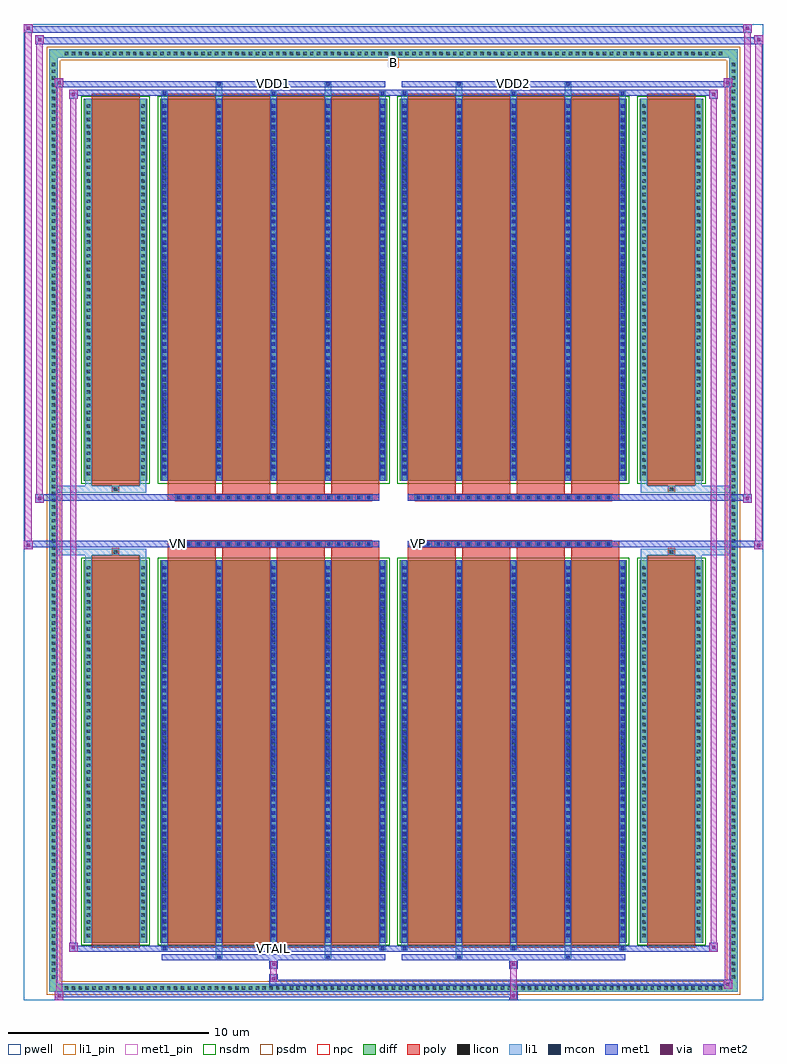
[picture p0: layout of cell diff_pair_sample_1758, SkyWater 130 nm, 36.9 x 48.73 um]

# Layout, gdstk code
import gdstk
lib = gdstk.Library(unit=1e-6, precision=5e-09)
def R(c, l, rs):  # rectangles x0, y0, x1, y1
    for r in rs: c.add(gdstk.rectangle(r[:2], r[2:], *l))
def A(c, l, x, y, w, h, nx, ny, dx, dy):  # array of equal rectangles
    R(c, l, [(x+i*dx, y+j*dy, x+i*dx+w, y+j*dy+h) for i in range(nx) for j in range(ny)])
def P(c, l, *ps):  # polygons
    for p in ps: c.add(gdstk.Polygon(p, *l))
pwell = (64, 44)
diff = (65, 20)
poly = (66, 20)
licon = (66, 44)
li1_pin = (67, 16)
li1 = (67, 20)
mcon = (67, 44)
met1_pin = (68, 16)
met1 = (68, 20)
via = (68, 44)
met2 = (69, 20)
nsdm = (93, 44)
psdm = (94, 20)
npc = (95, 20)

diff_pair_sample_1758 = lib.new_cell('diff_pair_sample_1758')
R(diff_pair_sample_1758, pwell, [(-18.45,-23.93,18.45,24.8), (-15.77,-22.12,-0.01,-0.8), (0.01,-22.12,15.77,-0.8), (-15.77,0.8,-0.01,22.12), (0.01,0.8,15.77,22.12)])
A(diff_pair_sample_1758, diff, -16.525, -23.53, 0.41, 0.41, 97, 2, 0.34, 46.65)
A(diff_pair_sample_1758, diff, -17.18, -22.985, 0.41, 0.41, 1, 135, 0, 0.34)
A(diff_pair_sample_1758, diff, 16.77, -22.985, 0.41, 0.41, 1, 135, 0, 0.34)
R(diff_pair_sample_1758, diff, [(-16.525,-23.53,16.525,-23.12), (-17.18,-22.985,-16.77,22.985), (16.77,-22.985,17.18,22.985), (-15.46,-21.075,-12.29,-1.985), (-11.65,-21.075,-0.32,-1.985), (0.32,-21.075,11.65,-1.985), (12.29,-21.075,15.46,-1.985), (-15.46,1.985,-12.29,21.075), (-11.65,1.985,-0.32,21.075), (0.32,1.985,11.65,21.075), (12.29,1.985,15.46,21.075), (-16.525,23.12,16.525,23.53)])
P(diff_pair_sample_1758, diff, [(17.18,23.53),(-17.18,23.53),(-17.18,-23.12),(-16.77,-23.12),(-16.77,23.12),(16.77,23.12),(16.77,-23.12),(-16.77,-23.12),(-17.18,-23.12),(-17.18,-23.53),(17.18,-23.53)])
A(diff_pair_sample_1758, poly, -11.26, -21.325, 2.39, 19.59, 4, 2, 2.72, 23.06)
A(diff_pair_sample_1758, poly, 0.71, -21.325, 2.39, 19.59, 4, 2, 2.72, 23.06)
A(diff_pair_sample_1758, poly, -11.26, -1.735, 2.39, 0.405, 4, 2, 2.72, 3.065)
A(diff_pair_sample_1758, poly, 0.71, -1.735, 2.39, 0.405, 4, 2, 2.72, 3.065)
A(diff_pair_sample_1758, poly, -10.9, -1.33, 0.33, 0.33, 20, 2, 0.5, 2.33)
A(diff_pair_sample_1758, poly, 1.07, -1.33, 0.33, 0.33, 20, 2, 0.5, 2.33)
R(diff_pair_sample_1758, poly, [(-15.07,-21.325,-12.68,-1.735), (12.68,-21.325,15.07,-1.735), (-14.04,-1.735,-13.71,-1.405), (-14.04,-1.735,-13.71,-1.405), (13.71,-1.735,14.04,-1.405), (13.71,-1.735,14.04,-1.405), (-11.26,-1.33,-0.71,-1), (0.71,-1.33,11.26,-1), (-11.26,1,-0.71,1.33), (0.71,1,11.26,1.33), (-14.04,1.405,-13.71,1.735), (-14.04,1.405,-13.71,1.735), (13.71,1.405,14.04,1.735), (13.71,1.405,14.04,1.735), (-15.07,1.735,-12.68,21.325), (12.68,1.735,15.07,21.325)])
A(diff_pair_sample_1758, licon, -16.405, -23.41, 0.17, 0.17, 97, 2, 0.34, 46.65)
A(diff_pair_sample_1758, licon, -17.06, -22.865, 0.17, 0.17, 1, 135, 0, 0.34)
A(diff_pair_sample_1758, licon, 16.89, -22.865, 0.17, 0.17, 1, 135, 0, 0.34)
A(diff_pair_sample_1758, licon, -15.32, -20.795, 0.17, 0.17, 1, 55, 0, 0.34)
A(diff_pair_sample_1758, licon, -12.6, -20.795, 0.17, 0.17, 1, 55, 0, 0.34)
A(diff_pair_sample_1758, licon, -11.51, -20.795, 0.17, 0.17, 5, 55, 2.72, 0.34)
A(diff_pair_sample_1758, licon, 0.46, -20.795, 0.17, 0.17, 5, 55, 2.72, 0.34)
A(diff_pair_sample_1758, licon, 12.43, -20.795, 0.17, 0.17, 1, 55, 0, 0.34)
A(diff_pair_sample_1758, licon, 15.15, -20.795, 0.17, 0.17, 1, 55, 0, 0.34)
A(diff_pair_sample_1758, licon, -10.82, -1.25, 0.17, 0.17, 20, 2, 0.5, 2.33)
A(diff_pair_sample_1758, licon, 1.15, -1.25, 0.17, 0.17, 20, 2, 0.5, 2.33)
A(diff_pair_sample_1758, licon, -15.32, 2.265, 0.17, 0.17, 1, 55, 0, 0.34)
A(diff_pair_sample_1758, licon, -12.6, 2.265, 0.17, 0.17, 1, 55, 0, 0.34)
A(diff_pair_sample_1758, licon, -11.51, 2.265, 0.17, 0.17, 5, 55, 2.72, 0.34)
A(diff_pair_sample_1758, licon, 0.46, 2.265, 0.17, 0.17, 5, 55, 2.72, 0.34)
A(diff_pair_sample_1758, licon, 12.43, 2.265, 0.17, 0.17, 1, 55, 0, 0.34)
A(diff_pair_sample_1758, licon, 15.15, 2.265, 0.17, 0.17, 1, 55, 0, 0.34)
R(diff_pair_sample_1758, licon, [(-13.96,-1.655,-13.79,-1.485), (13.79,-1.655,13.96,-1.485), (-13.96,1.485,-13.79,1.655), (13.79,1.485,13.96,1.655)])
R(diff_pair_sample_1758, li1_pin, [(-0.25,22.62,0.25,23.12)])
A(diff_pair_sample_1758, li1, -16.485, -23.49, 0.33, 0.33, 97, 2, 0.34, 46.65)
A(diff_pair_sample_1758, li1, -17.14, -22.945, 0.33, 0.33, 1, 135, 0, 0.34)
A(diff_pair_sample_1758, li1, 16.81, -22.945, 0.33, 0.33, 1, 135, 0, 0.34)
A(diff_pair_sample_1758, li1, -11.59, -21.45, 0.33, 0.375, 3, 2, 5.44, 42.525)
A(diff_pair_sample_1758, li1, -11.51, -21.45, 0.17, 0.17, 3, 2, 5.44, 42.73)
A(diff_pair_sample_1758, li1, 0.38, -21.45, 0.33, 0.375, 3, 2, 5.44, 42.525)
A(diff_pair_sample_1758, li1, 0.46, -21.45, 0.17, 0.17, 3, 2, 5.44, 42.73)
A(diff_pair_sample_1758, li1, -11.59, -21.075, 0.33, 19.09, 5, 2, 2.72, 23.06)
A(diff_pair_sample_1758, li1, 0.38, -21.075, 0.33, 19.09, 5, 2, 2.72, 23.06)
A(diff_pair_sample_1758, li1, -15.4, -20.875, 0.33, 0.33, 1, 55, 0, 0.34)
A(diff_pair_sample_1758, li1, -12.68, -20.875, 0.33, 0.33, 1, 55, 0, 0.34)
A(diff_pair_sample_1758, li1, -11.59, -20.875, 0.33, 0.33, 5, 55, 2.72, 0.34)
A(diff_pair_sample_1758, li1, 0.38, -20.875, 0.33, 0.33, 5, 55, 2.72, 0.34)
A(diff_pair_sample_1758, li1, 12.35, -20.875, 0.33, 0.33, 1, 55, 0, 0.34)
A(diff_pair_sample_1758, li1, 15.07, -20.875, 0.33, 0.33, 1, 55, 0, 0.34)
A(diff_pair_sample_1758, li1, -11.51, -20.795, 0.17, 0.17, 5, 52, 2.72, 0.36)
A(diff_pair_sample_1758, li1, -11.51, -20.795, 0.17, 18.53, 5, 2, 2.72, 23.06)
A(diff_pair_sample_1758, li1, 0.46, -20.795, 0.17, 0.17, 5, 52, 2.72, 0.36)
A(diff_pair_sample_1758, li1, 0.46, -20.795, 0.17, 18.53, 5, 2, 2.72, 23.06)
A(diff_pair_sample_1758, li1, -10.9, -1.33, 0.33, 0.33, 20, 2, 0.5, 2.33)
A(diff_pair_sample_1758, li1, 1.07, -1.33, 0.33, 0.33, 20, 2, 0.5, 2.33)
A(diff_pair_sample_1758, li1, -15.4, 2.185, 0.33, 0.33, 1, 55, 0, 0.34)
A(diff_pair_sample_1758, li1, -12.68, 2.185, 0.33, 0.33, 1, 55, 0, 0.34)
A(diff_pair_sample_1758, li1, -11.59, 2.185, 0.33, 0.33, 5, 55, 2.72, 0.34)
A(diff_pair_sample_1758, li1, 0.38, 2.185, 0.33, 0.33, 5, 55, 2.72, 0.34)
A(diff_pair_sample_1758, li1, 12.35, 2.185, 0.33, 0.33, 1, 55, 0, 0.34)
A(diff_pair_sample_1758, li1, 15.07, 2.185, 0.33, 0.33, 1, 55, 0, 0.34)
A(diff_pair_sample_1758, li1, -11.51, 2.265, 0.17, 0.17, 5, 52, 2.72, 0.36)
A(diff_pair_sample_1758, li1, 0.46, 2.265, 0.17, 0.17, 5, 52, 2.72, 0.36)
R(diff_pair_sample_1758, li1, [(-17.18,-23.53,-16.77,-23.12), (-17.18,-23.53,-16.77,-23.12), (-16.77,-23.53,16.77,-23.12), (16.77,-23.53,17.18,-23.12), (16.77,-23.53,17.18,-23.12), (-17.18,-23.12,-16.77,23.12), (16.77,-23.12,17.18,23.12), (-8.87,-21.88,-8.54,-21.075), (-8.79,-21.88,-8.62,-21.71), (-3.43,-21.88,-3.1,-21.075), (-3.35,-21.88,-3.18,-21.71), (3.1,-21.88,3.43,-21.075), (3.18,-21.88,3.35,-21.71), (8.54,-21.88,8.87,-21.075), (8.62,-21.88,8.79,-21.71), (-15.4,-21.075,-15.07,-1.985), (-12.68,-21.075,-12.35,-1.985), (12.35,-21.075,12.68,-1.985), (15.07,-21.075,15.4,-1.985), (-15.4,-1.985,-15.07,-1.405), (-12.68,-1.985,-12.35,-1.405), (12.35,-1.985,12.68,-1.405), (15.07,-1.985,15.4,-1.405), (-17.18,-1.735,-14.04,-1.405), (-15.4,-1.735,-14.04,-1.405), (-14.04,-1.735,-13.71,-1.405), (-13.71,-1.735,-12.35,-1.405), (12.35,-1.735,13.71,-1.405), (13.71,-1.735,14.04,-1.405), (13.71,-1.735,17.18,-1.405), (14.04,-1.735,15.4,-1.405), (-17.18,1.405,-14.04,1.735), (-15.4,1.405,-14.04,1.735), (-15.4,1.405,-15.07,1.985), (-14.04,1.405,-13.71,1.735), (-13.71,1.405,-12.35,1.735), (-12.68,1.405,-12.35,1.985), (12.35,1.405,13.71,1.735), (12.35,1.405,12.68,1.985), (13.71,1.405,14.04,1.735), (13.71,1.405,17.18,1.735), (14.04,1.405,15.4,1.735), (15.07,1.405,15.4,1.985), (-15.4,1.985,-15.07,21.075), (-12.68,1.985,-12.35,21.075), (12.35,1.985,12.68,21.075), (15.07,1.985,15.4,21.075), (-8.87,21.075,-8.54,21.88), (-3.43,21.075,-3.1,21.88), (3.1,21.075,3.43,21.88), (8.54,21.075,8.87,21.88), (-8.79,21.71,-8.62,21.88), (-3.35,21.71,-3.18,21.88), (3.18,21.71,3.35,21.88), (8.62,21.71,8.79,21.88), (-17.18,23.12,-16.77,23.53), (-17.18,23.12,-16.77,23.53), (-16.77,23.12,16.77,23.53), (16.77,23.12,17.18,23.53), (16.77,23.12,17.18,23.53)])
A(diff_pair_sample_1758, mcon, -11.51, -21.45, 0.17, 0.17, 3, 2, 5.44, 42.73)
A(diff_pair_sample_1758, mcon, 0.46, -21.45, 0.17, 0.17, 3, 2, 5.44, 42.73)
A(diff_pair_sample_1758, mcon, -11.51, -20.795, 0.17, 0.17, 5, 52, 2.72, 0.36)
A(diff_pair_sample_1758, mcon, 0.46, -20.795, 0.17, 0.17, 5, 52, 2.72, 0.36)
A(diff_pair_sample_1758, mcon, -10.82, -1.25, 0.17, 0.17, 20, 2, 0.5, 2.33)
A(diff_pair_sample_1758, mcon, 1.15, -1.25, 0.17, 0.17, 20, 2, 0.5, 2.33)
A(diff_pair_sample_1758, mcon, -11.51, 2.265, 0.17, 0.17, 5, 52, 2.72, 0.36)
A(diff_pair_sample_1758, mcon, 0.46, 2.265, 0.17, 0.17, 5, 52, 2.72, 0.36)
R(diff_pair_sample_1758, mcon, [(-8.79,-21.88,-8.62,-21.71), (-3.35,-21.88,-3.18,-21.71), (3.18,-21.88,3.35,-21.71), (8.62,-21.88,8.79,-21.71), (-8.79,21.71,-8.62,21.88), (-3.35,21.71,-3.18,21.88), (3.18,21.71,3.35,21.88), (8.62,21.71,8.79,21.88)])
R(diff_pair_sample_1758, met1_pin, [(-6.12,-21.49,-5.85,-21.22), (-10.87,-1.29,-10.6,-1.02), (1.1,-1.29,1.37,-1.02), (-6.12,21.67,-5.85,21.94), (5.85,21.67,6.12,21.94)])
A(diff_pair_sample_1758, met1, -11.57, -21.51, 0.29, 0.29, 3, 2, 5.44, 42.73)
A(diff_pair_sample_1758, met1, 0.4, -21.51, 0.29, 0.29, 3, 2, 5.44, 42.73)
A(diff_pair_sample_1758, met1, -11.57, -21.075, 0.29, 19.09, 5, 2, 2.72, 23.06)
A(diff_pair_sample_1758, met1, 0.4, -21.075, 0.29, 19.09, 5, 2, 2.72, 23.06)
A(diff_pair_sample_1758, met1, -11.57, -20.855, 0.29, 0.29, 5, 52, 2.72, 0.36)
A(diff_pair_sample_1758, met1, 0.4, -20.855, 0.29, 0.29, 5, 52, 2.72, 0.36)
A(diff_pair_sample_1758, met1, -10.88, -1.31, 0.29, 0.29, 20, 2, 0.5, 2.33)
A(diff_pair_sample_1758, met1, 1.09, -1.31, 0.29, 0.29, 20, 2, 0.5, 2.33)
A(diff_pair_sample_1758, met1, -11.57, 2.205, 0.29, 0.29, 5, 52, 2.72, 0.36)
A(diff_pair_sample_1758, met1, 0.4, 2.205, 0.29, 0.29, 5, 52, 2.72, 0.36)
R(diff_pair_sample_1758, met1, [(-16.91,-23.93,-16.48,-23.5), (5.77,-23.93,6.2,-23.5), (-16.91,-23.79,6.2,-23.5), (16.48,-23.36,16.91,-22.93), (-6.2,-23.22,16.91,-22.93), (-6.2,-23.08,-5.77,-22.65), (-6.2,-22.37,-5.77,-21.94), (5.77,-22.37,6.2,-21.94), (-11.57,-21.94,-0.4,-21.65), (-8.85,-21.94,-8.56,-21.65), (-3.41,-21.94,-3.12,-21.65), (0.4,-21.94,11.57,-21.65), (3.12,-21.94,3.41,-21.65), (8.56,-21.94,8.85,-21.65), (-16.2,-21.51,-15.77,-21.08), (-16.2,-21.51,-11.57,-21.22), (-11.57,-21.51,-0.4,-21.22), (-0.4,-21.51,0.4,-21.22), (0.4,-21.51,11.57,-21.22), (11.57,-21.51,16.2,-21.22), (15.77,-21.51,16.2,-21.08), (-18.45,-1.43,-18.02,-1), (18.02,-1.43,18.45,-1), (-18.45,-1.33,-0.71,-1), (-11.26,-1.33,-0.71,-1), (0.71,-1.33,11.26,-1), (0.71,-1.33,18.45,-1), (-17.88,0.9,-17.45,1.33), (17.45,0.9,17.88,1.33), (-17.88,1,-11.26,1.33), (-11.26,1,-0.71,1.33), (0.71,1,11.26,1.33), (11.26,1,17.88,1.33), (-16.2,21.08,-15.77,21.51), (15.77,21.08,16.2,21.51), (-16.2,21.22,-11.57,21.51), (-11.57,21.22,-0.4,21.51), (-0.4,21.22,0.4,21.51), (0.4,21.22,11.57,21.51), (11.57,21.22,16.2,21.51), (-16.91,21.65,-16.48,22.08), (-16.91,21.65,-11.57,21.94), (-11.57,21.65,-0.4,21.94), (-8.85,21.65,-8.56,21.94), (-3.41,21.65,-3.12,21.94), (0.4,21.65,11.57,21.94), (3.12,21.65,3.41,21.94), (8.56,21.65,8.85,21.94), (11.57,21.65,16.91,21.94), (16.48,21.65,16.91,22.08), (-17.88,23.8,-17.45,24.23), (-17.88,23.8,-15.77,24.13), (-15.77,23.8,15.77,24.13), (15.77,23.8,18.45,24.13), (18.02,23.8,18.45,24.23), (-18.45,24.37,-18.02,24.8), (-18.45,24.37,-15.77,24.7), (-15.77,24.37,15.77,24.7), (15.77,24.37,17.88,24.7), (17.45,24.37,17.88,24.8)])
R(diff_pair_sample_1758, via, [(-16.77,-23.79,-16.62,-23.64), (5.91,-23.79,6.06,-23.64), (16.62,-23.22,16.77,-23.07), (-6.06,-22.94,-5.91,-22.79), (-6.06,-22.23,-5.91,-22.08), (5.91,-22.23,6.06,-22.08), (-16.06,-21.37,-15.91,-21.22), (15.91,-21.37,16.06,-21.22), (-18.31,-1.29,-18.16,-1.14), (18.16,-1.29,18.31,-1.14), (-17.74,1.04,-17.59,1.19), (17.59,1.04,17.74,1.19), (-16.06,21.22,-15.91,21.37), (15.91,21.22,16.06,21.37), (-16.77,21.79,-16.62,21.94), (16.62,21.79,16.77,21.94), (-17.74,23.94,-17.59,24.09), (18.16,23.94,18.31,24.09), (-18.31,24.51,-18.16,24.66), (17.59,24.51,17.74,24.66)])
R(diff_pair_sample_1758, met2, [(-16.91,-23.93,-16.48,-23.5), (-16.84,-23.93,-16.55,22.08), (-16.55,-23.93,-16.48,-23.5), (-16.86,-23.88,-16.53,-23.55), (5.82,-23.88,6.15,-23.55), (5.82,-23.55,6.15,-22.32), (16.48,-23.36,16.91,-22.93), (16.55,-23.36,16.84,22.08), (16.84,-23.36,16.91,-22.93), (16.53,-23.31,16.86,-22.98), (-6.15,-23.03,-5.82,-22.7), (-6.15,-22.7,-5.82,-22.32), (-6.15,-22.32,-5.82,-21.99), (5.82,-22.32,6.15,-21.99), (-16.2,-21.51,-15.77,-21.08), (-16.13,-21.51,-15.84,21.51), (-15.84,-21.51,-15.77,-21.08), (15.77,-21.51,16.2,-21.08), (15.84,-21.51,16.13,21.51), (16.13,-21.51,16.2,-21.08), (-16.15,-21.46,-15.82,-21.13), (15.82,-21.46,16.15,-21.13), (-18.45,-1.43,-18.02,-1), (-18.4,-1.43,-18.07,24.8), (-18.07,-1.43,-18.02,-1), (18.02,-1.43,18.45,-1), (18.07,-1.43,18.4,24.23), (18.4,-1.43,18.45,-1), (-18.4,-1.38,-18.07,-1.05), (18.07,-1.38,18.4,-1.05), (-17.88,0.9,-17.45,1.33), (-17.83,0.9,-17.5,24.23), (-17.5,0.9,-17.45,1.33), (17.45,0.9,17.88,1.33), (17.5,0.9,17.83,24.8), (17.83,0.9,17.88,1.33), (-17.83,0.95,-17.5,1.28), (17.5,0.95,17.83,1.28), (-16.2,21.08,-15.77,21.51), (-15.84,21.08,-15.77,21.51), (15.77,21.08,16.2,21.51), (16.13,21.08,16.2,21.51), (-16.15,21.13,-15.82,21.46), (15.82,21.13,16.15,21.46), (-16.91,21.65,-16.48,22.08), (-16.55,21.65,-16.48,22.08), (16.48,21.65,16.91,22.08), (16.84,21.65,16.91,22.08), (-16.86,21.7,-16.53,22.03), (16.53,21.7,16.86,22.03), (-17.88,23.8,-17.45,24.23), (-17.5,23.8,-17.45,24.23), (18.02,23.8,18.45,24.23), (18.4,23.8,18.45,24.23), (-17.83,23.85,-17.5,24.18), (18.07,23.85,18.4,24.18), (-18.45,24.37,-18.02,24.8), (-18.07,24.37,-18.02,24.8), (17.45,24.37,17.88,24.8), (17.83,24.37,17.88,24.8), (-18.4,24.42,-18.07,24.75), (17.5,24.42,17.83,24.75)])
R(diff_pair_sample_1758, nsdm, [(-15.59,-21.205,-12.16,-1.855), (-11.78,-21.205,-0.19,-1.855), (0.19,-21.205,11.78,-1.855), (12.16,-21.205,15.59,-1.855), (-15.59,1.855,-12.16,21.205), (-11.78,1.855,-0.19,21.205), (0.19,1.855,11.78,21.205), (12.16,1.855,15.59,21.205)])
P(diff_pair_sample_1758, psdm, [(17.31,23.66),(-17.31,23.66),(-17.31,-22.99),(-16.64,-22.99),(-16.64,22.99),(16.64,22.99),(16.64,-22.99),(-16.64,-22.99),(-17.31,-22.99),(-17.31,-23.66),(17.31,-23.66)])
A(diff_pair_sample_1758, npc, -10.92, -1.35, 0.37, 0.37, 20, 2, 0.5, 2.33)
A(diff_pair_sample_1758, npc, 1.05, -1.35, 0.37, 0.37, 20, 2, 0.5, 2.33)
R(diff_pair_sample_1758, npc, [(-14.06,-1.755,-13.69,-1.385), (13.69,-1.755,14.06,-1.385), (-10.92,-1.35,-10.05,-0.98), (-10.92,-1.35,-10.05,-0.98), (-10.42,-1.35,-9.55,-0.98), (-10.42,-1.35,-9.55,-0.98), (-9.92,-1.35,-9.05,-0.98), (-9.92,-1.35,-9.05,-0.98), (-9.42,-1.35,-8.55,-0.98), (-9.42,-1.35,-8.55,-0.98), (-8.92,-1.35,-8.05,-0.98), (-8.92,-1.35,-8.05,-0.98), (-8.42,-1.35,-7.55,-0.98), (-8.42,-1.35,-7.55,-0.98), (-7.92,-1.35,-7.05,-0.98), (-7.92,-1.35,-7.05,-0.98), (-7.42,-1.35,-6.55,-0.98), (-7.42,-1.35,-6.55,-0.98), (-6.92,-1.35,-6.05,-0.98), (-6.92,-1.35,-6.05,-0.98), (-6.42,-1.35,-5.55,-0.98), (-6.42,-1.35,-5.55,-0.98), (-5.92,-1.35,-5.05,-0.98), (-5.92,-1.35,-5.05,-0.98), (-5.42,-1.35,-4.55,-0.98), (-5.42,-1.35,-4.55,-0.98), (-4.92,-1.35,-4.05,-0.98), (-4.92,-1.35,-4.05,-0.98), (-4.42,-1.35,-3.55,-0.98), (-4.42,-1.35,-3.55,-0.98), (-3.92,-1.35,-3.05,-0.98), (-3.92,-1.35,-3.05,-0.98), (-3.42,-1.35,-2.55,-0.98), (-3.42,-1.35,-2.55,-0.98), (-2.92,-1.35,-2.05,-0.98), (-2.92,-1.35,-2.05,-0.98), (-2.42,-1.35,-1.55,-0.98), (-2.42,-1.35,-1.55,-0.98), (-1.92,-1.35,-1.05,-0.98), (-1.92,-1.35,-1.05,-0.98), (1.05,-1.35,1.92,-0.98), (1.05,-1.35,1.92,-0.98), (1.55,-1.35,2.42,-0.98), (1.55,-1.35,2.42,-0.98), (2.05,-1.35,2.92,-0.98), (2.05,-1.35,2.92,-0.98), (2.55,-1.35,3.42,-0.98), (2.55,-1.35,3.42,-0.98), (3.05,-1.35,3.92,-0.98), (3.05,-1.35,3.92,-0.98), (3.55,-1.35,4.42,-0.98), (3.55,-1.35,4.42,-0.98), (4.05,-1.35,4.92,-0.98), (4.05,-1.35,4.92,-0.98), (4.55,-1.35,5.42,-0.98), (4.55,-1.35,5.42,-0.98), (5.05,-1.35,5.92,-0.98), (5.05,-1.35,5.92,-0.98), (5.55,-1.35,6.42,-0.98), (5.55,-1.35,6.42,-0.98), (6.05,-1.35,6.92,-0.98), (6.05,-1.35,6.92,-0.98), (6.55,-1.35,7.42,-0.98), (6.55,-1.35,7.42,-0.98), (7.05,-1.35,7.92,-0.98), (7.05,-1.35,7.92,-0.98), (7.55,-1.35,8.42,-0.98), (7.55,-1.35,8.42,-0.98), (8.05,-1.35,8.92,-0.98), (8.05,-1.35,8.92,-0.98), (8.55,-1.35,9.42,-0.98), (8.55,-1.35,9.42,-0.98), (9.05,-1.35,9.92,-0.98), (9.05,-1.35,9.92,-0.98), (9.55,-1.35,10.42,-0.98), (9.55,-1.35,10.42,-0.98), (10.05,-1.35,10.92,-0.98), (10.05,-1.35,10.92,-0.98), (-10.92,0.98,-10.05,1.35), (-10.92,0.98,-10.05,1.35), (-10.42,0.98,-9.55,1.35), (-10.42,0.98,-9.55,1.35), (-9.92,0.98,-9.05,1.35), (-9.92,0.98,-9.05,1.35), (-9.42,0.98,-8.55,1.35), (-9.42,0.98,-8.55,1.35), (-8.92,0.98,-8.05,1.35), (-8.92,0.98,-8.05,1.35), (-8.42,0.98,-7.55,1.35), (-8.42,0.98,-7.55,1.35), (-7.92,0.98,-7.05,1.35), (-7.92,0.98,-7.05,1.35), (-7.42,0.98,-6.55,1.35), (-7.42,0.98,-6.55,1.35), (-6.92,0.98,-6.05,1.35), (-6.92,0.98,-6.05,1.35), (-6.42,0.98,-5.55,1.35), (-6.42,0.98,-5.55,1.35), (-5.92,0.98,-5.05,1.35), (-5.92,0.98,-5.05,1.35), (-5.42,0.98,-4.55,1.35), (-5.42,0.98,-4.55,1.35), (-4.92,0.98,-4.05,1.35), (-4.92,0.98,-4.05,1.35), (-4.42,0.98,-3.55,1.35), (-4.42,0.98,-3.55,1.35), (-3.92,0.98,-3.05,1.35), (-3.92,0.98,-3.05,1.35), (-3.42,0.98,-2.55,1.35), (-3.42,0.98,-2.55,1.35), (-2.92,0.98,-2.05,1.35), (-2.92,0.98,-2.05,1.35), (-2.42,0.98,-1.55,1.35), (-2.42,0.98,-1.55,1.35), (-1.92,0.98,-1.05,1.35), (-1.92,0.98,-1.05,1.35), (1.05,0.98,1.92,1.35), (1.05,0.98,1.92,1.35), (1.55,0.98,2.42,1.35), (1.55,0.98,2.42,1.35), (2.05,0.98,2.92,1.35), (2.05,0.98,2.92,1.35), (2.55,0.98,3.42,1.35), (2.55,0.98,3.42,1.35), (3.05,0.98,3.92,1.35), (3.05,0.98,3.92,1.35), (3.55,0.98,4.42,1.35), (3.55,0.98,4.42,1.35), (4.05,0.98,4.92,1.35), (4.05,0.98,4.92,1.35), (4.55,0.98,5.42,1.35), (4.55,0.98,5.42,1.35), (5.05,0.98,5.92,1.35), (5.05,0.98,5.92,1.35), (5.55,0.98,6.42,1.35), (5.55,0.98,6.42,1.35), (6.05,0.98,6.92,1.35), (6.05,0.98,6.92,1.35), (6.55,0.98,7.42,1.35), (6.55,0.98,7.42,1.35), (7.05,0.98,7.92,1.35), (7.05,0.98,7.92,1.35), (7.55,0.98,8.42,1.35), (7.55,0.98,8.42,1.35), (8.05,0.98,8.92,1.35), (8.05,0.98,8.92,1.35), (8.55,0.98,9.42,1.35), (8.55,0.98,9.42,1.35), (9.05,0.98,9.92,1.35), (9.05,0.98,9.92,1.35), (9.55,0.98,10.42,1.35), (9.55,0.98,10.42,1.35), (10.05,0.98,10.92,1.35), (10.05,0.98,10.92,1.35), (-14.06,1.385,-13.69,1.755), (13.69,1.385,14.06,1.755)])
diff_pair_sample_1758.add(gdstk.Label('VTAIL', (-5.985,-21.355), layer=68, texttype=5))
diff_pair_sample_1758.add(gdstk.Label('VN', (-10.735,-1.155), layer=68, texttype=5))
diff_pair_sample_1758.add(gdstk.Label('VP', (1.235,-1.155), layer=68, texttype=5))
diff_pair_sample_1758.add(gdstk.Label('B', (0,22.87), layer=67, texttype=5))
diff_pair_sample_1758.add(gdstk.Label('VDD2', (5.985,21.805), layer=68, texttype=5))
diff_pair_sample_1758.add(gdstk.Label('VDD1', (-5.985,21.805), layer=68, texttype=5))

lib.write_gds('diff_pair_sample_1758.gds')
